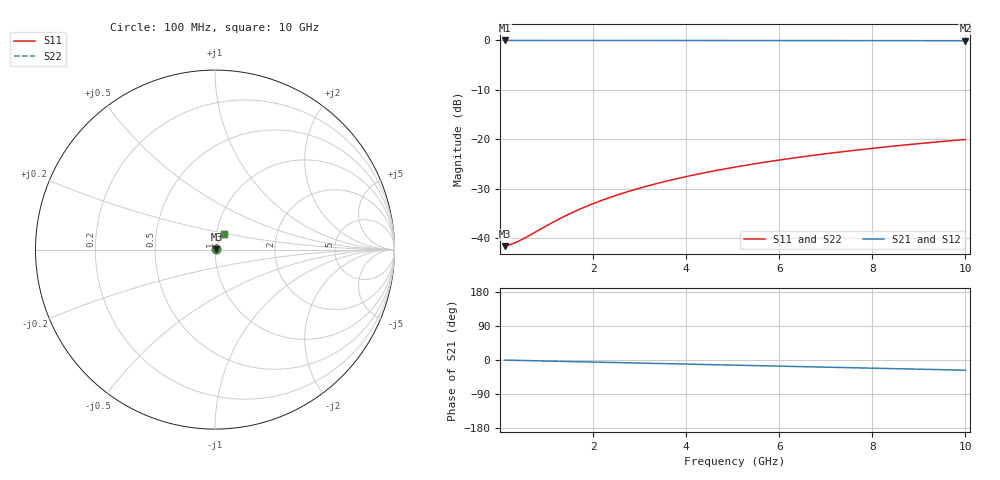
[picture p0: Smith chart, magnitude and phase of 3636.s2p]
# Hz S RI R 50.00
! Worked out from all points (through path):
!   100 points, 100 MHz to 10 GHz, reference 50 ohm
!   highest |S21| = -0.07 dB at 100 MHz (marker M1); lowest = -0.1 dB at 10 GHz (marker M2)
!   group delay of S21, straight-line fit = 7.48 ps
!   lowest |S11| = -41.6 dB at 100 MHz (marker M3), VSWR 1.02, Z = 50.8 + j0.101 ohm
!   |S11| at or under -10 dB: start of sweep to end of sweep
!   |S22| runs from -41.6 to -20.1 dB; largest |S21 - S12| = 0
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1e8  0.00824 0.000992  0.9917 -0.00467  0.9917 -0.00467  0.00824 0.000992
2e8  0.00831 0.00198  0.9917 -0.00935  0.9917 -0.00935  0.00831 0.00198
3e8  0.00837 0.00297  0.9916 -0.014  0.9916 -0.014  0.00837 0.00297
4e8  0.00844 0.00396  0.9914 -0.0187  0.9914 -0.0187  0.00844 0.00396
6e8  0.00858 0.00594  0.9912 -0.028  0.9912 -0.028  0.00858 0.00594
1e9  0.00895 0.00989  0.9903 -0.0467  0.9903 -0.0467  0.00895 0.00989
1.3e9  0.00932 0.0128  0.9895 -0.0607  0.9895 -0.0607  0.00932 0.0128
1.5e9  0.00961 0.0148  0.9888 -0.07  0.9888 -0.07  0.00961 0.0148
1.8e9  0.0101 0.0177  0.9876 -0.084  0.9876 -0.084  0.0101 0.0177
2.1e9  0.0107 0.0206  0.9862 -0.0979  0.9862 -0.0979  0.0107 0.0206
2.5e9  0.0116 0.0245  0.9841 -0.1165  0.9841 -0.1165  0.0116 0.0245
2.9e9  0.0126 0.0283  0.9816 -0.135  0.9816 -0.135  0.0126 0.0283
3.4e9  0.0141 0.033  0.9779 -0.158  0.9779 -0.158  0.0141 0.033
3.8e9  0.0155 0.0367  0.9746 -0.1764  0.9746 -0.1764  0.0155 0.0367
4.2e9  0.017 0.0404  0.9709 -0.1946  0.9709 -0.1946  0.017 0.0404
4.6e9  0.0186 0.044  0.9668 -0.2128  0.9668 -0.2128  0.0186 0.044
5.1e9  0.0208 0.0484  0.9613 -0.2354  0.9613 -0.2354  0.0208 0.0484
5.9e9  0.0248 0.0552  0.9513 -0.2713  0.9513 -0.2713  0.0248 0.0552
6.7e9  0.0293 0.0617  0.9399 -0.3067  0.9399 -0.3067  0.0293 0.0617
7.5e9  0.0343 0.0678  0.9271 -0.3415  0.9271 -0.3415  0.0343 0.0678
8.4e9  0.0404 0.0742  0.9112 -0.3801  0.9112 -0.3801  0.0404 0.0742
1e10  0.0525 0.0842  0.8789 -0.4466  0.8789 -0.4466  0.0525 0.0842
